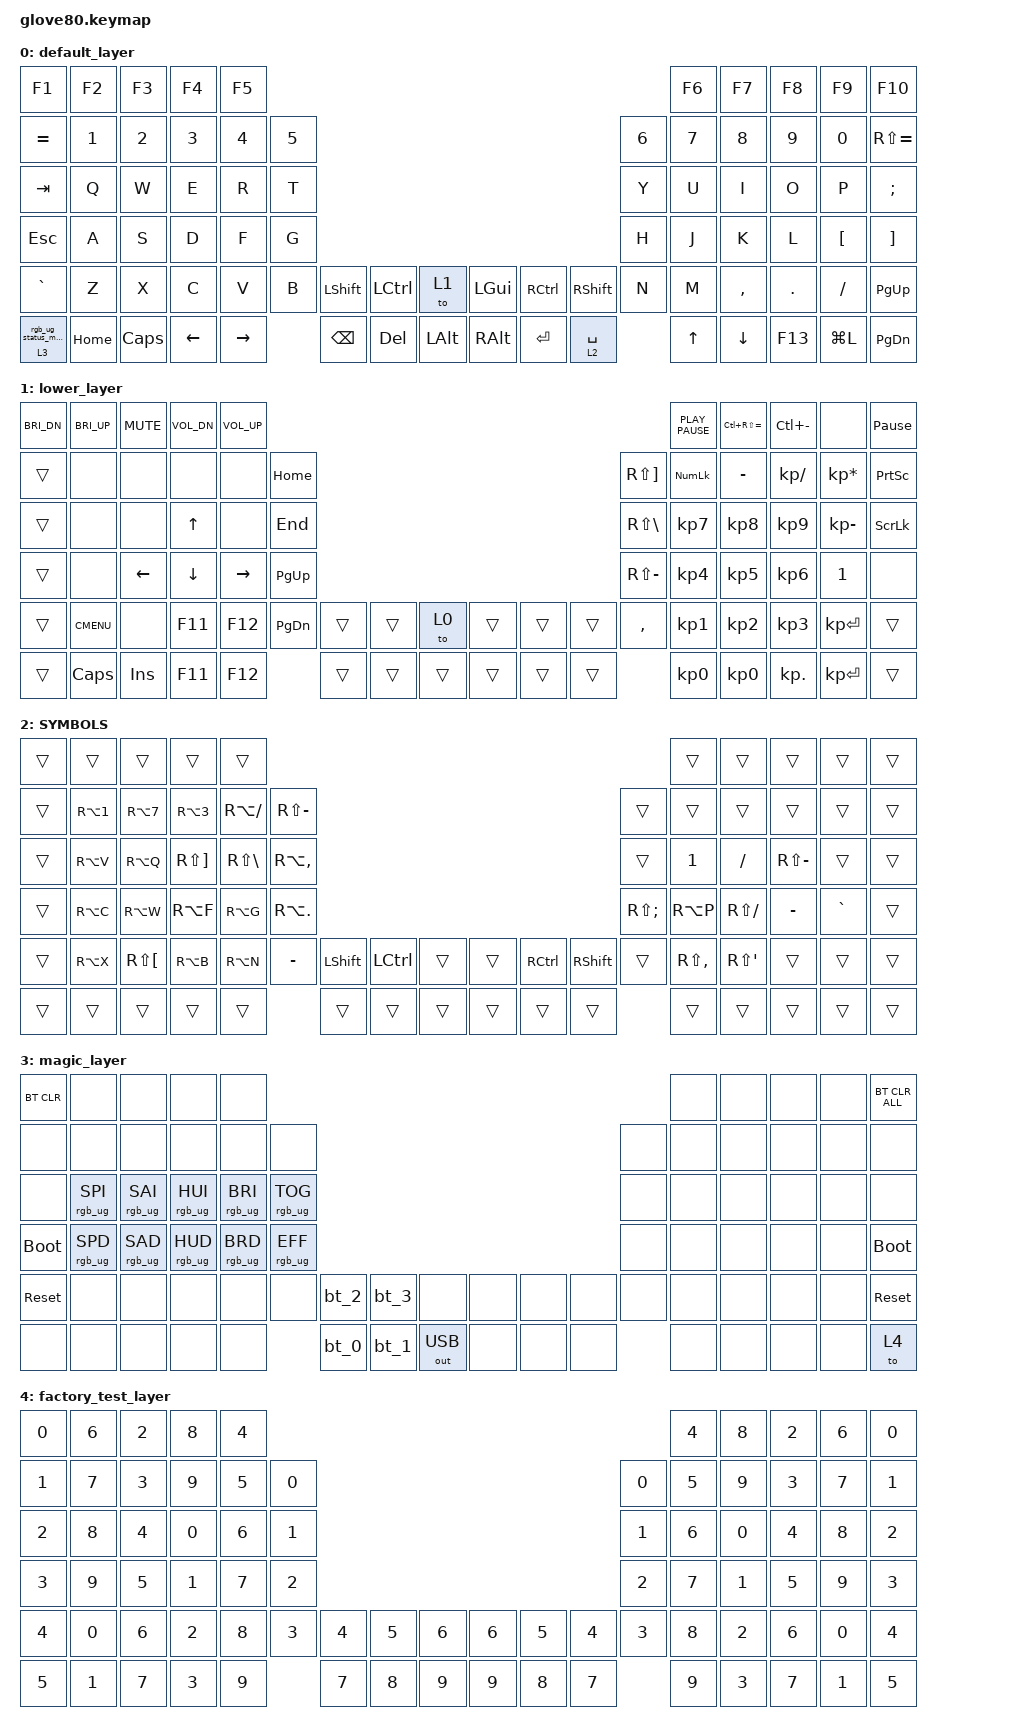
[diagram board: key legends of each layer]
/*
 * Copyright (c) 2020 The ZMK Contributors
 *
 * SPDX-License-Identifier: MIT
 */

#include <behaviors.dtsi>
#include <dt-bindings/zmk/bt.h>
#include <dt-bindings/zmk/keys.h>
#include <dt-bindings/zmk/outputs.h>
#include <dt-bindings/zmk/rgb.h>

#define HYPER LC(LS(LG(LALT)))

// layers

#define DEFAULT 0
#define LOWER 1
#define MAGIC 2
#define FACTORY_TEST 3

/ {
    behaviors {
        // For the "layer" key, it'd nice to be able to use it as either a shift or a toggle.
        // Configure it as a tap dance, so the first tap (or hold) is a &mo and the second tap is a &to

        layer_td: tap_dance_0 {
            compatible = "zmk,behavior-tap-dance";
            label = "LAYER_TAP_DANCE";
            #binding-cells = <0>;
            tapping-term-ms = <200>;
            bindings = <&mo 1>, <&to 1>;
        };

        magic: magic_hold_tap {
            compatible = "zmk,behavior-hold-tap";
            label = "MAGIC_HOLD_TAP";
            #binding-cells = <2>;
            flavor = "tap-preferred";
            tapping-term-ms = <200>;
            bindings = <&mo>, <&rgb_ug_status_macro>;
        };
    };

    macros {
        rgb_ug_status_macro: rgb_ug_status_macro_0 {
            label = "RGB_UG_STATUS";
            compatible = "zmk,behavior-macro";
            #binding-cells = <0>;
            bindings = <&rgb_ug RGB_STATUS>;
        };

        bt_0: bt_profile_macro_0 {
            label = "BT_0";
            compatible = "zmk,behavior-macro";
            #binding-cells = <0>;
            bindings = <&out OUT_BLE &bt BT_SEL 0>;
        };

        bt_1: bt_profile_macro_1 {
            label = "BT_1";
            compatible = "zmk,behavior-macro";
            #binding-cells = <0>;
            bindings = <&out OUT_BLE &bt BT_SEL 1>;
        };

        bt_2: bt_profile_macro_2 {
            label = "BT_2";
            compatible = "zmk,behavior-macro";
            #binding-cells = <0>;
            bindings = <&out OUT_BLE &bt BT_SEL 2>;
        };

        bt_3: bt_profile_macro_3 {
            label = "BT_3";
            compatible = "zmk,behavior-macro";
            #binding-cells = <0>;
            bindings = <&out OUT_BLE &bt BT_SEL 3>;
        };
    };

    keymap {
        compatible = "zmk,keymap";

        default_layer {
            // ---------------------------------------------------------------------------------------------------------------------------------
            // |  F1   |  F2 |  F3 |  F4  |  F5  |                                                               |  F6   |  F7   |  F8  |   F9  |  F10 |
            // |  =    |  1  |  2  |  3   |  4   |  5   |                                                 |  6   |   7   |   8   |  9   |   0   |   -  |
            // |  TAB  |  Q  |  W  |  E   |  R   |  T   |                                                 |  Y   |   U   |   I   |  O   |   P   |   \  |
            // |  ESC  |  A  |  S  |  D   |  F   |  G   |                                                 |  H   |   J   |   K   |  L   |   ;   |   '  |
            // |   `   |  Z  |  X  |  C   |  V   |  B   | LSHFT | LCTRL | LOWER | | LGUI  | RCTRL | RSHFT |  N   |   M   |   ,   |  .   |   /   | PGUP |
            // | MAGIC | HOME| END | LEFT | RIGHT|      | BSPC  | DEL   | LALT  | | RALT  | RET   | SPACE |      |  UP   | DOWN  |  [   |   ]   | PGDN |

            bindings = <
&kp F1      &kp F2    &kp F3        &kp F4    &kp F5                                                                                       &kp F6  &kp F7     &kp F8   &kp F9            &kp F10
&kp EQUAL   &kp N1    &kp N2        &kp N3    &kp N4     &kp N5                                                                    &kp N6  &kp N7  &kp N8     &kp N9   &kp N0            &kp RS(EQUAL)
&kp TAB     &kp Q     &kp W         &kp E     &kp R      &kp T                                                                     &kp Y   &kp U   &kp I      &kp O    &kp P             &kp SEMICOLON
&kp ESC     &kp A     &kp S         &kp D     &kp F      &kp G                                                                     &kp H   &kp J   &kp K      &kp L    &kp LEFT_BRACKET  &kp RIGHT_BRACKET
&kp GRAVE   &kp Z     &kp X         &kp C     &kp V      &kp B   &kp LSHFT  &kp LCTRL  &to 1     &kp LGUI  &kp RCTRL  &kp RSHFT    &kp N   &kp M   &kp COMMA  &kp DOT  &kp FSLH          &kp PG_UP
&magic 3 0  &kp HOME  &kp CAPSLOCK  &kp LEFT  &kp RIGHT          &kp BSPC   &kp DEL    &kp LALT  &kp RALT  &kp RET    &lt 2 SPACE          &kp UP  &kp DOWN   &kp F13  &kp LG(L)         &kp PG_DN
            >;
        };

        lower_layer {
            bindings = <
&kp C_BRI_DN  &kp C_BRI_UP  &kp C_MUTE  &kp C_VOL_DN  &kp C_VOL_UP                                                                                    &kp K_PLAY_PAUSE  &kp LC(RS(EQUAL))  &kp LC(MINUS)  &none            &kp PAUSE_BREAK
&trans        &none         &none       &none         &none         &kp HOME                                                   &kp RS(RIGHT_BRACKET)  &kp KP_NUM        &kp MINUS          &kp KP_DIVIDE  &kp KP_MULTIPLY  &kp PSCRN
&trans        &none         &none       &kp UP        &none         &kp END                                                    &kp RS(BACKSLASH)      &kp KP_N7         &kp KP_N8          &kp KP_N9      &kp KP_MINUS     &kp SLCK
&trans        &none         &kp LEFT    &kp DOWN      &kp RIGHT     &kp PG_UP                                                  &kp RS(MINUS)          &kp KP_N4         &kp KP_N5          &kp KP_N6      &kp NUMBER_1     &none
&trans        &kp K_CMENU   &none       &kp F11       &kp F12       &kp PG_DN  &trans  &trans  &to 0   &trans  &trans  &trans  &kp COMMA              &kp KP_N1         &kp KP_N2          &kp KP_N3      &kp KP_ENTER     &trans
&trans        &kp CAPS      &kp INS     &kp F11       &kp F12                  &trans  &trans  &trans  &trans  &trans  &trans                         &kp KP_N0         &kp KP_N0          &kp KP_DOT     &kp KP_ENTER     &trans
            >;
        };

        SYMBOLS {
            bindings = <
&trans  &trans      &trans                &trans                 &trans                                                                                                                                      &trans         &trans         &trans         &trans     &trans
&trans  &kp RA(N1)  &kp RA(N7)            &kp RA(NUMBER_3)       &kp RA(SLASH)      &kp RS(MINUS)                                                                                         &trans             &trans         &trans         &trans         &trans     &trans
&trans  &kp RA(V)   &kp RA(Q)             &kp RS(RIGHT_BRACKET)  &kp RS(BACKSLASH)  &kp RA(COMMA)                                                                                         &trans             &kp NUMBER_1   &kp SLASH      &kp RS(MINUS)  &trans     &trans
&trans  &kp RA(C)   &kp RA(W)             &kp RA(F)              &kp RA(G)          &kp RA(PERIOD)                                                                                        &kp RS(SEMICOLON)  &kp RA(P)      &kp RS(SLASH)  &kp MINUS      &kp GRAVE  &trans
&trans  &kp RA(X)   &kp RS(LEFT_BRACKET)  &kp RA(B)              &kp RA(N)          &kp MINUS       &kp LEFT_SHIFT  &kp LEFT_CONTROL  &trans  &trans  &kp RIGHT_CONTROL  &kp RIGHT_SHIFT  &trans             &kp RS(COMMA)  &kp RS(SQT)    &trans         &trans     &trans
&trans  &trans      &trans                &trans                 &trans                             &trans          &trans            &trans  &trans  &trans             &trans                              &trans         &trans         &trans         &trans     &trans
            >;
        };

        magic_layer {
            bindings = <
&bt BT_CLR   &none            &none            &none            &none                                                                                     &none  &none  &none  &none  &bt BT_CLR_ALL
&none        &none            &none            &none            &none            &none                                                             &none  &none  &none  &none  &none  &none
&none        &rgb_ug RGB_SPI  &rgb_ug RGB_SAI  &rgb_ug RGB_HUI  &rgb_ug RGB_BRI  &rgb_ug RGB_TOG                                                   &none  &none  &none  &none  &none  &none
&bootloader  &rgb_ug RGB_SPD  &rgb_ug RGB_SAD  &rgb_ug RGB_HUD  &rgb_ug RGB_BRD  &rgb_ug RGB_EFF                                                   &none  &none  &none  &none  &none  &bootloader
&sys_reset   &none            &none            &none            &none            &none            &bt_2  &bt_3  &none         &none  &none  &none  &none  &none  &none  &none  &none  &sys_reset
&none        &none            &none            &none            &none                             &bt_0  &bt_1  &out OUT_USB  &none  &none  &none         &none  &none  &none  &none  &to 4
            >;
        };

        factory_test_layer {
            bindings = <
&kp N0  &kp N6  &kp N2  &kp N8  &kp N4                                                                  &kp N4  &kp N8  &kp N2  &kp N6  &kp N0
&kp N1  &kp N7  &kp N3  &kp N9  &kp N5  &kp N0                                                  &kp N0  &kp N5  &kp N9  &kp N3  &kp N7  &kp N1
&kp N2  &kp N8  &kp N4  &kp N0  &kp N6  &kp N1                                                  &kp N1  &kp N6  &kp N0  &kp N4  &kp N8  &kp N2
&kp N3  &kp N9  &kp N5  &kp N1  &kp N7  &kp N2                                                  &kp N2  &kp N7  &kp N1  &kp N5  &kp N9  &kp N3
&kp N4  &kp N0  &kp N6  &kp N2  &kp N8  &kp N3  &kp N4  &kp N5  &kp N6  &kp N6  &kp N5  &kp N4  &kp N3  &kp N8  &kp N2  &kp N6  &kp N0  &kp N4
&kp N5  &kp N1  &kp N7  &kp N3  &kp N9          &kp N7  &kp N8  &kp N9  &kp N9  &kp N8  &kp N7          &kp N9  &kp N3  &kp N7  &kp N1  &kp N5
            >;
        };
    };
};
